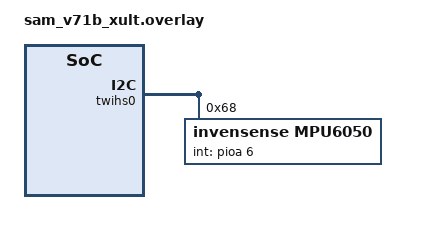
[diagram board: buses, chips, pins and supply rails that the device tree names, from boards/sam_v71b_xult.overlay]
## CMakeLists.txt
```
cmake_minimum_required(VERSION 3.20.0)

set(BOARD sam_v71b_xult)
set(DTC_OVERLAY_FILE "boards/sam_v71b_xult.overlay")

find_package(Zephyr)

project(rovertito)

file(GLOB_RECURSE SOURCE_FILES "src/*.c" "lib/*.c")
target_sources(app PRIVATE ${SOURCE_FILES})

# Add the include directories from lib recursively
file(GLOB_RECURSE LIB_HEADERS "${CMAKE_CURRENT_SOURCE_DIR}/lib/*/*.h")
foreach(header_file ${LIB_HEADERS})
    get_filename_component(dir ${header_file} DIRECTORY)
    list(APPEND LIB_INCLUDE_DIRS ${dir})
endforeach()
list(REMOVE_DUPLICATES LIB_INCLUDE_DIRS)
include_directories(${LIB_INCLUDE_DIRS})

target_include_directories(app PRIVATE include
                                       src
                                       src/telecommands
                                       src/telemetries)
```

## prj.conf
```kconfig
CONFIG_I2C=y
CONFIG_SENSOR=y
CONFIG_MPU6050_TRIGGER_NONE=y
CONFIG_CBPRINTF_FP_SUPPORT=y
CONFIG_SERIAL=y
CONFIG_UART_INTERRUPT_DRIVEN=y
CONFIG_CAN=y
CONFIG_CAN_INIT_PRIORITY=80
CONFIG_CAN_MAX_FILTER=5
CONFIG_CAN_FD_MODE=y
CONFIG_NETWORKING=y
CONFIG_SOCKS=y
CONFIG_NET_UDP=y
CONFIG_NET_IPV4=y
```

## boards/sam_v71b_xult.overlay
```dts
&twihs0 {
	mpu6050@68 {
		compatible = "invensense,mpu6050";
		reg = <0x68>;
		status = "okay";
		int-gpios = <&pioa 6 GPIO_ACTIVE_HIGH>;
	};
};
```

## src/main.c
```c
/*=============================================================================
 * Author: Spacebeetech - Navegacion
 * Date: 12/01/2023 
 * Board: Atmel ARM Cortex-M7 Xplained Ultra Dev Board ATSAMV71-XULT ATSAMV71Q21B
 * Entorno de programacion: Docker with Zephyr
 *
 *===========================================================================*/

/*=====================[ Inclusiones ]============================*/
#include <zephyr/kernel.h>

#include "Uart1.h"                  //Libreria del periferico UART
#include "TMTC_I2C.h"               //Libreria del periferico I2C
#include "TITO_Mov.h"               //Libreria para mover a tito
#include "udp_bridge.h"             //Libreria del bridge UDP por I2C
#include "telemetry_manager.h"      //Libreria para el manejo de TM
#include "telecommands_manager.h"   //Libreria para el manejo de TC
#include "telemetry_thread.h"       //Hilo para procesar TM
#include "telecommand_thread.h"     //Hilo para procesar TC
#include "get_timestamp.h"          //Libreria del telecomando Tiimestamp
#include "set_mode.h"               //Libreria del telecomando setmode
#include "set_profile_mode.h"       //Libreria del telecomando Perfilmode
#include "set_target_velocity.h"    //Libreria del telecomando set velocity
#include "TM_Enable.h"              //Libreria del telecomando de manejo de TM
#include "TM_Acelerometro.h"        //Libreria de para el envio de la telemetria acelerometro

/*=====================[ Defines ]============================*/
#define STACK_SIZE 16384  // Size of stack area used by every thread
#define COMMUNICATION_THREADS_PRIORITY 7

/*=====================[ Threads ]============================*/
//Se define el stack y el puntero de las tareas o hilos
K_THREAD_STACK_DEFINE(telecommand_thread_stack_area, STACK_SIZE);
struct k_thread telecommand_thread;

K_THREAD_STACK_DEFINE(telemetry_thread_stack_area, STACK_SIZE);
struct k_thread telemetry_thread;

K_THREAD_STACK_DEFINE(TITO_Mov_stack_area, STACK_SIZE);
struct k_thread TITO_Mov_thread_data;

/*========================================================================
  Funcion: main
  Descripcion: Crea los hilos de operacion
  Sin parametro de entrada
  No retorna nada
  ========================================================================*/
void main(void)
{
  //Se configura el puerto uart
	Uart1_Config();
	Uart1_println("Iniciando Rovertito V1.0.0 ");

  static UdpBridge udpBridgeTelecommand;  //Estructura que contiene la informacion del puerto y el puntero a su interface
  static UdpBridge udpBridgeTelemetry;    //Estructura que contiene la informacion del puerto y el puntero a su interface
  static TelecommandsManager telecommandsManager; //Estructura que contiene el numero maximo de telecomandos y el numero actual
  static TelemetryManager telemetryManager; //Estructura que contiene el numero maximo de telemetrias y el numero actual

  //Estructuras para cada Telecomando. Cada Telecomando es una interface diferente
  //Cada estructura contiene un puntero a su propia interface y dos estrucutras correspondientes a las variables de entrada y salida de la interface
  static GetTimestamp TC_getTimestamp;
  static SetMode TC_setMode;
  static SetProfileMode TC_setProfileMode;
  static SetTargetVelocity TC_setTargetVelocity;
  static TMEnable TC_TMEnable;

  //Estructuras para cada Telemetria. Cada Telemetria es una interface diferente
  //Cada estructura contiene un puntero a su propia interface y dos estrucutras correspondientes a las variables de entrada y salida de la interface
  static TM_Acelerometro TMp_Acelerometro;

  //Estructuras que contienen la informacion de los hilos
  static TelecommandThread telecommandThread;
  static TelemetryThread telemetryThread;

  //Se inicia y configura la comunicacion UDP mediante el bridge
  TMTC_I2C_init();                                                    //Se inicia el periferico i2c
  UdpBridge_create(&udpBridgeTelecommand, LANDER_PORT_TELECOMMAND);   //Inicia la interfaces para los telecomandos y le asigna un puerto
  UdpBridge_create(&udpBridgeTelemetry, LANDER_PORT_TELEMETRY);       //Inicia la interfaces para los telemetrias y le asigna un puerto

//Configuracion de Telecomandos
  TelecommandsManager_create(&telecommandsManager);                   //Se inicializa el manejador de telecomandos con 0 telecomandos actualmente

  
  //Se crea telecomandando para cambiar el modo de operacion de tito (Maquina de estado en TITO_Mov.c)
  SetMode_create(&TC_setMode);                                           //Se crea interface para este telecomando
  TelecommandsManager_addNewTelecommand(&telecommandsManager,         //Se agrega la interface creada, al manejador de telecomando
                                        SetMode_viewAsTelecommandInterface(&TC_setMode));
  //Se crea telecomandando para cambiar la altura de tito
  SetProfileMode_create(&TC_setProfileMode);
  TelecommandsManager_addNewTelecommand(&telecommandsManager,
                                        SetProfileMode_viewAsTelecommandInterface(&TC_setProfileMode));
  //Se crea telecomandando para cambiar la velocidad de tito
  SetTargetVelocity_create(&TC_setTargetVelocity);
  TelecommandsManager_addNewTelecommand(&telecommandsManager,
                                        SetTargetVelocity_viewAsTelecommandInterface(&TC_setTargetVelocity));

  //Se crea telecomandando para manejo de timestamp
  GetTimestamp_create(&TC_getTimestamp);                                 
  TelecommandsManager_addNewTelecommand(&telecommandsManager,        
                                        GetTimestamp_viewAsTelecommandInterface(&TC_getTimestamp));

  //Se crea telecomandando para manejo de TM
  TMEnable_create(&TC_TMEnable);                                 
  TelecommandsManager_addNewTelecommand(&telecommandsManager,        
                                        TMEnable_viewAsTelecommandInterface(&TC_TMEnable));
                                        
  //Se obtiene puntero a la interface del udpbridge para los telecomandos
  CommunicationInterface *telecommandChannel = UdpBridge_viewAsCommunicationInterface(&udpBridgeTelecommand);
 
  //Se inicializa la interface de telecomando (Agrega la informacion necesaria a la estructura que contine la informacion del hilo telecomando e inicializa el header de los mensajes TC)
  TelecommandThread_create(&telecommandThread, &telecommandsManager, telecommandChannel);

//Configuracion de telemetrias
  TelemetryManager_create(&telemetryManager);                   //Se inicializa el manejador de telemetrias con 0 telemetrias actualmente
  
  //Se configura telemetria de acelerometro
  TM_Acelerometro_inicialize(&TMp_Acelerometro);                                        //Se inicializa interface para esta telemetria
  TelemetryManager_addNewTelemetry(&telemetryManager, TM_Acelerometro_viewAsTelemetryInterface(&TMp_Acelerometro)); //Se agrega la interface creada, al manejador de telemetria
  
  //Se obtiene puntero a la interface del udpbridge para la telemetria
  CommunicationInterface *telemetryChannel = UdpBridge_viewAsCommunicationInterface(&udpBridgeTelemetry);

  TelemetryThread_create(&telemetryThread, &telemetryManager, telemetryChannel);

//Se crean las hilos o tareas en zephyr
  //Tarea o hilo periodico para procesar los telecomandos
  k_thread_create(&telecommand_thread, telecommand_thread_stack_area,
                  K_THREAD_STACK_SIZEOF(telecommand_thread_stack_area),
                  TelecommandThread_start,
                  &telecommandThread, NULL, NULL,
                  COMMUNICATION_THREADS_PRIORITY, 0, K_NO_WAIT);
  //Tarea o hilo periodico para procesar los telemetria
  k_thread_create(&telemetry_thread, telemetry_thread_stack_area,
                  K_THREAD_STACK_SIZEOF(telemetry_thread_stack_area),
                  TelemetryThread_start,
                  &telemetryThread, NULL, NULL,
                  COMMUNICATION_THREADS_PRIORITY+1, 0, K_NO_WAIT);
  //Tarea o hilo periodico para procesar los movimientos de tito
  k_thread_create(&TITO_Mov_thread_data, TITO_Mov_stack_area,
                  K_THREAD_STACK_SIZEOF(TITO_Mov_stack_area),
                  TITO_Mov_Tasks,
                  NULL, NULL, NULL,
                  COMMUNICATION_THREADS_PRIORITY + 2, 0, K_NO_WAIT);
}
```

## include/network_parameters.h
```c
#ifndef NETWORK_PARAMETERS_H_
#define NETWORK_PARAMETERS_H_

#define ROVER_PORT_TELECOMMAND 51524
#define LANDER_PORT_TELECOMMAND 51525
#define LANDER_PORT_TELEMETRY 51526

#define ROVER_ADDRESS "192.168.200.100"
#define LANDER_ADDRESS "192.168.200.200"

#endif  // NETWORK_PARAMETERS_H_
```

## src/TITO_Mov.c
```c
/*=============================================================================
 * Author: Spacebeetech - Navegacion
 * Date: 22/04/2023 
 * Board: Atmel ARM Cortex-M7 Xplained Ultra Dev Board ATSAMV71-XULT ATSAMV71Q21B
 * Entorno de programacion: Docker with Zephyr
 *
 * Descripcion: Realiza los movimientos correspondientes segun el estado de las maquinas de estado
 *===========================================================================*/

/*=====================[ Inclusiones ]============================*/
#include "TITO_Mov.h"

#include <string.h>
#include <stdio.h>

#include "CANopen.h"
#include "Uart1.h"
#include "epos4.h"
#include "MPU6050.h"
#include "height_controller.h"
#include "velocity_controller.h"
#include "driver_emulator.h"

/*=====================[Variables]================================*/
struct k_thread VelocityControl_thread_data;
K_THREAD_STACK_DEFINE(VelocityControl_stack_area, 512);
uint8_t epos_id[6]={0x02, 0x03, 0x04, 0x05, 0x06, 0x07};
uint8_t vector_pos[]={0, 5, 10, 15, 20, 25, 30, 35, 40, 45, 50, 55, 60, 65, 70, 75, 80, 85, 90, 90, 90, 90, 90, 90, 90, 90, 90, 90, 90, 90, 85, 80, 75, 70, 65, 60, 55, 50, 45, 40, 35, 30, 25, 20, 15, 10, 5, 0, 0, 0, 0, 0, 0, 0, 0, 0, 0, 0, 0};

static TITO_Mov_Mode_t Estado_movimiento = OFF;
static TITO_Mov_ProfileMode_t Estado_perfil = NOTHING;
static HeightController heightController;
static VelocityController velocityController;

/*===================[Prototipos de funciones]=========================*/
void VelocityControl_thread(void *, void *, void *);
uint8_t Motor_epos_config_parametros(void);
uint8_t Motor_config_parametros(void);
uint8_t Motor_poweroff(void);

/*=====================[Implementaciones]==============================*/
 

/*========================================================================
  Funcion: TITO_Mov_Tasks
  Descripcion: Tarea para verificar el estado de la maquina de estado y realizar los controles de los motores
  Sin parametro de entrada
  No retorna nada
  ========================================================================*/
void TITO_Mov_Tasks ( void *, void *, void * )
{
    CANopen_init();
    MPU6050_init();
    //char destino4[8]="        ";
    //sprintf(destino4, "MPU: %d", ret);
    //Uart1_println(destino4);

    // Movement controllers initialization
    HeightController_new(&heightController);
    VelocityController_new(&velocityController);

    //Paso driver epos a modo "Power disabled" para configurar cada driver
    if(Motor_poweroff()==0){
      Uart1_print("Error al apagar drivers");
    }

    if(Motor_config_parametros()==0){
      Uart1_print("Error al configurar parametros del motor");
    }

    if(Motor_epos_config_parametros()==0){
      Uart1_print("Error al configurar parametros generales en epos");
    }

    // Driver emulator initialization
    static DriverEmulator leg1;
    static DriverEmulator leg2;
    static DriverEmulator leg3;
    static DriverEmulator leg4;
    static DriverEmulator leg5;
    static DriverEmulator leg6;
    DriverEmulator_create(&leg1, epos_id[0]);
    DriverEmulator_create(&leg2, epos_id[1]);
    DriverEmulator_create(&leg3, epos_id[2]);
    DriverEmulator_create(&leg4, epos_id[3]);
    DriverEmulator_create(&leg5, epos_id[4]);
    DriverEmulator_create(&leg6, epos_id[5]);

    // Driver interface initialization
    DriverInterface *leg1Interface = DriverEmulator_viewAsDriverInterface(&leg1);
    DriverInterface *leg2Interface = DriverEmulator_viewAsDriverInterface(&leg2);
    DriverInterface *leg3Interface = DriverEmulator_viewAsDriverInterface(&leg3);
    DriverInterface *leg4Interface = DriverEmulator_viewAsDriverInterface(&leg4);
    DriverInterface *leg5Interface = DriverEmulator_viewAsDriverInterface(&leg5);
    DriverInterface *leg6Interface = DriverEmulator_viewAsDriverInterface(&leg6);

     /*
    uint8_t p[5]={0x00, 0x0F, 0x42, 0x40};          
    uint8_t i[5]={0x00, 0x00, 0x00, 0x00};
    uint8_t d[5]={0x00, 0x00, 0x00, 0x00};  
    // 1=control velocidad  2= control posicion    
    uint8_t ress = Epos4_config_PID (epos_id[0], 2, p, i, d);
    ress = ress +  Epos4_config_PID (epos_id[1], 2, p, i, d);
    ress = ress +  Epos4_config_PID (epos_id[2], 2, p, i, d);
    ress = ress +  Epos4_config_PID (epos_id[3], 2, p, i, d);
    p[0]=0x00; p[1]=0x16; p[2]=0xE3; p[3]=0x60;
    ress = ress +  Epos4_config_PID (epos_id[4], 2, p, i, d);
    p[0]=0x00; p[1]=0x0F; p[2]=0x42; p[3]=0x40;
    ress = ress +  Epos4_config_PID (epos_id[5], 2, p, i, d);
    if(ress==0){
      Uart1_println("Config PID - OK");
    }else{
      Uart1_println("Config PID - Fail");
    }
    */
    while (1)
    {
        switch (Estado_movimiento) {
        case OFF:
          break;
        case MANUAL: 
          uint8_t res = 0;
          float angleDegrees = 0;
          switch (Estado_perfil) {
            case NOTHING:
              break;
            case HOME:
              //Indico que todos los motores vayan a la posicion cero
              res += DriverInterface_setPosition(leg1Interface, 0);
              res += DriverInterface_setPosition(leg2Interface, 0);
              res += DriverInterface_setPosition(leg3Interface, 0);
              res += DriverInterface_setPosition(leg4Interface, 0);
              res += DriverInterface_setPosition(leg5Interface, 0);
              res += DriverInterface_setPosition(leg6Interface, 0);
              if(res==0){
                Uart1_println("Motores en HOME - OK");
              }else{
                Uart1_println("Motores en HOME - OFF");
              }
              break;
            case SET_HEIGHT:
              angleDegrees = HeightController_compute(&heightController);
              res += DriverInterface_setPosition(leg1Interface, angleDegrees);
              res += DriverInterface_setPosition(leg2Interface, angleDegrees);
              res += DriverInterface_setPosition(leg3Interface, angleDegrees);
              res += DriverInterface_setPosition(leg4Interface, angleDegrees);
              res += DriverInterface_setPosition(leg5Interface, angleDegrees);
              res += DriverInterface_setPosition(leg6Interface, angleDegrees);
              if (res == 0) {
                Uart1_println("Perfil - OK");
              } else {
                Uart1_println("Perfil - fail");
              }
              break;
            case FORWARD:
              angleDegrees = VelocityController_compute(&velocityController);
              res += DriverInterface_setPosition(leg1Interface, angleDegrees);
              res += DriverInterface_setPosition(leg2Interface, angleDegrees);
              res += DriverInterface_setPosition(leg3Interface, angleDegrees);
              res += DriverInterface_setPosition(leg4Interface, angleDegrees);
              res += DriverInterface_setPosition(leg5Interface, angleDegrees);
              res += DriverInterface_setPosition(leg6Interface, angleDegrees);
              if (res == 0) {
                Uart1_println("Forward - OK");
              } else {
                Uart1_println("Forward - fail");
              }
              break;
            case TURN:
              break;
          }
          break;
        case AUTO:
          break;
        }
      k_msleep(100);
    }
}


/*========================================================================
  Funcion: VelocityControl_thread
  Descripcion: Envio la trama 2 por canbus
  Sin parametro de entrada
  No retorna nada
  ========================================================================
void VelocityControl_thread(void *, void *, void *){
  Uart1_println("Inicio hilo VelocityControl");
  while (1)
    {
        char dato[32]= {0};
        uint8_t retorno = Uart1_Recibir(dato);
        if (dato[0] != ' ' && retorno == 1)                    //Si el byte es distinto del caracter ' ' y se retorno 1
        {   
            char destino[15]="               ";
            sprintf(destino, "Ingreso: %s", dato);
            Uart1_println(destino);
            
            if (dato[0]  == 'X')                               //Si el dato recibido es el caracter X
            {
               break;                                          //Salgo del while true
            }

            if (dato[0]  == 'S')                               //Si el dato recibido es el caracter S
            {
              uint32_t velocidad = (dato[1]-'0')*1000+(dato[2]-'0')*100+(dato[3]-'0')*10+(dato[4]-'0');
              char destino2[21]="               ";
              sprintf(destino2, "Velocidad set en: %d", velocidad);
              Uart1_println(destino2);

              uint8_t velocity[4]={0x00, 0x00, 0x00, 0x00};
              velocity[3]=velocidad & 0xff;
              velocity[2]=(velocidad>>8) & 0xff;
              velocity[1]=(velocidad>>16) & 0xff;
              velocity[0]=(velocidad>>24) & 0xff;

              Epos4_Cyclic_Synchronous_Velocity_MODE (epos_id[0], velocity);
              Epos4_Cyclic_Synchronous_Velocity_MODE (epos_id[1], velocity);
              Epos4_Cyclic_Synchronous_Velocity_MODE (epos_id[2], velocity);
              Epos4_Cyclic_Synchronous_Velocity_MODE (epos_id[3], velocity);
              Epos4_Cyclic_Synchronous_Velocity_MODE (epos_id[4], velocity);
              Epos4_Cyclic_Synchronous_Velocity_MODE (epos_id[5], velocity);
            }

        }else{
            Uart1_println("Ingrese el setpoint de velocidad con el formato S0000 o presione x para terminar este hilo");
        }

        //Tomo dato de la imu
        float accel[4]={0};
        float gyro[4]={0};
        uint8_t resultado = 1;
        if(resultado==0){
          char imuu[80];
          sprintf(imuu, "accel %lf %lf %lf m/s/s  -  gyro  %lf %lf %lf rad/s", accel[0], accel[1], accel[2], gyro[0], gyro[1], gyro[2]);
          Uart1_println(imuu);
        }
                
        k_msleep(1500);
    }
  Uart1_println("Fin hilo VelocityControl");  //Al no tener bucle infinito, el hilo se elimina
}
*/
/*========================================================================
  Funcion: Motor_poweroff
  Descripcion: Apaga los 4 driver EPOS
  Sin parametro de entrada
  Retorna:   0 si no se pudo realizar correctamente
             1 si se pudo realizar correctamente
  ========================================================================*/
uint8_t Motor_poweroff(void){
  uint8_t res = Epos4_Power_Disable(epos_id[0]);
  res = res + Epos4_Power_Disable(epos_id[1]);
  res = res + Epos4_Power_Disable(epos_id[2]);
  res = res + Epos4_Power_Disable(epos_id[3]);
  res = res + Epos4_Power_Disable(epos_id[4]);
  res = res + Epos4_Power_Disable(epos_id[5]);
  if(res==0){
    return 1;
  }else{
    return 0;
  }
}

/*========================================================================
  Funcion: Motor_config_parametros
  Descripcion: Configuro parametros del motor en cada epos
  Sin parametro de entrada
  Retorna:   0 si no se pudo realizar correctamente
             1 si se pudo realizar correctamente
  ========================================================================*/
uint8_t Motor_config_parametros(void){
  uint8_t max_vel[4]={0x00, 0x00, 0x2A, 0x30};      //Maxima velocidad del motor  10800 rpm
  uint8_t nom_curr[4]={0x00, 0x00, 0x06, 0x54};     //Corriente nominal del motor 1620 mA
  uint8_t max_curr[4]={0x00, 0x00, 0x0C, 0xA8};     //3240 mA (Output current limit)
  uint8_t res = Epos4_config_motor_parameters (epos_id[0], max_vel, nom_curr, max_curr);
  res = res + Epos4_config_motor_parameters (epos_id[1], max_vel, nom_curr, max_curr);
  res = res + Epos4_config_motor_parameters (epos_id[2], max_vel, nom_curr, max_curr);
  res = res + Epos4_config_motor_parameters (epos_id[3], max_vel, nom_curr, max_curr);
  res = res + Epos4_config_motor_parameters (epos_id[4], max_vel, nom_curr, max_curr);
  res = res + Epos4_config_motor_parameters (epos_id[5], max_vel, nom_curr, max_curr);
  if(res==0){
    return 1;
  }else{
    return 0;
  }
}

/*========================================================================
  Funcion: Motor_epos_config_parametros
  Descripcion: Configuro parametros generales en cada epos
  Sin parametro de entrada
  Retorna:   0 si no se pudo realizar correctamente
             1 si se pudo realizar correctamente
  ========================================================================*/
uint8_t Motor_epos_config_parametros(void){
  uint8_t max_vel[4]={0x00, 0x00, 0x03, 0xE8};          //Máxima velocidad permitida en los movimientos. 1000 rpm 
  uint8_t des_ramp[4]={0x00, 0x00, 0x00, 0x0A};         //Desaceleracion en modo normal. 10 rpm/s
  uint8_t des_ramp_fast[4]={0x00, 0x00, 0x00, 0x14};    //Desaceleracion en modo fast. 20 rpm/s
  uint8_t max_acel[4]={0x00, 0x00, 0x00, 0x0A};         //Maxima aceleracion.  10 rpm/s 
  uint8_t res = Epos4_config_parameters (epos_id[0], max_vel, des_ramp, des_ramp_fast, max_acel);
  res = res + Epos4_config_parameters (epos_id[1], max_vel, des_ramp, des_ramp_fast, max_acel);
  res = res + Epos4_config_parameters (epos_id[2], max_vel, des_ramp, des_ramp_fast, max_acel);
  res = res + Epos4_config_parameters (epos_id[3], max_vel, des_ramp, des_ramp_fast, max_acel);
  res = res + Epos4_config_parameters (epos_id[4], max_vel, des_ramp, des_ramp_fast, max_acel);
  res = res + Epos4_config_parameters (epos_id[5], max_vel, des_ramp, des_ramp_fast, max_acel);
  if(res==0){
    return 1;
  }else{
    return 0;
  }
}

uint8_t TITO_Mov_setMode(TITO_Mov_Mode_t mode) {
  Estado_movimiento = mode;
  return 0;
}

uint8_t TITO_Mov_setProfileMode(TITO_Mov_ProfileMode_t profileMode) {
  Estado_perfil = profileMode;
  return 0;
}

uint8_t TITO_Mov_setTargetVelocity(float targetVelocity) {
  VelocityController_setNewTargetVelocity(&velocityController, targetVelocity);
  return 0;
}
```

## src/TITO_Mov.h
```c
/*=============================================================================
 * Author: Spacebeetech - Navegacion
 * Date: 22/04/2023 
 * Board: Atmel ARM Cortex-M7 Xplained Ultra Dev Board ATSAMV71-XULT ATSAMV71Q21B
 * Entorno de programacion: Docker with Zephyr
 *
 * Descripción: Realiza los movimientos correspondientes segun el estado de las maquinas de estado
 *===========================================================================*/

/*==================[Definiciones]================================*/
#ifndef TITO_Mov_H_
#define TITO_Mov_H_

/*=====================[ Inclusiones ]============================*/
#include <zephyr/kernel.h>
#include <stdint.h>
#include <stdbool.h>
#include <stddef.h>
#include <stdlib.h>

/*=====================[Variables]================================*/
typedef enum TITO_Mov_Mode {
  OFF,
  MANUAL,
  AUTO
} TITO_Mov_Mode_t;

typedef enum TITO_Mov_ProfileMode {
  NOTHING,
  HOME,
  SET_HEIGHT,
  FORWARD,
  TURN
} TITO_Mov_ProfileMode_t;

/*=================[Prototipos de funciones]======================*/
void TITO_Mov_Tasks(void *, void *, void *);
uint8_t TITO_Mov_setMode(TITO_Mov_Mode_t mode);
uint8_t TITO_Mov_setProfileMode(TITO_Mov_ProfileMode_t profileMode);
uint8_t TITO_Mov_setTargetVelocity(float targetVelocity);

#endif  // TITO_Mov_H_
```

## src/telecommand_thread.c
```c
#include "telecommand_thread.h"

#include "network_parameters.h"

#define RETURN_ARGUMENTS_MAX_SIZE 1024

//******************************************************************************
// Private methods
//******************************************************************************
static void TelecommandThread_sendResponseAck(TelecommandThread *self) {
  MessageHeader_t header = MessageHandler_getHeader(&self->receivedMessage);
  MessageHandler_setHeader(&self->responseMessage, header);
  MessageHandler_send(&self->responseMessage, NULL, 0);
}

static void TelecommandThread_sendResponseNominal(TelecommandThread *self,
                                                  TelecommandInterface *telecommand) {
  MessageHeader_t header = MessageHandler_getHeader(&self->receivedMessage);
  MessageHandler_setHeader(&self->responseMessage, header);  // Response message shall have same header as received message
  uint8_t buffer[RETURN_ARGUMENTS_MAX_SIZE];
  size_t currentSize = 0;
  TelecommandInterface_getReturnArguments(telecommand, buffer, &currentSize);  // Get return arguments
  MessageHandler_send(&self->responseMessage, buffer, currentSize);  // Send response message with telecommand return arguments
}

static void TelecommandThread_sendResponseFailure(TelecommandThread *self) { /* TODO: Implement */ }
static void TelecommandThread_sendResponseNotEnabled(TelecommandThread *self) { /* TODO: Implement */ }

//******************************************************************************
// Public methods
//******************************************************************************
/*========================================================================
  Funcion: TelecommandThread_create
  Descripcion: Agrega la informacion necesaria a la estructura que contine la informacion del hilo telecomando
  Parametro de entrada:
                        SetMode *self:            Puntero a la estructura donde se guardara la informacion del hilo de telecomandos
                        TelecommandsManager *telecommandsManager: Puntero al manejador de telecomandos
                        CommunicationInterface *messageChannel:   Puntero a la interface de telecomando
  No retorna nada
  ========================================================================*/
void TelecommandThread_create(TelecommandThread *self,
                              TelecommandsManager *telecommandsManager,
                              CommunicationInterface *messageChannel) {
  self->telecommandsManager = telecommandsManager;            

  MessageHandler_create(&self->receivedMessage, messageChannel);   //Guarda en la estructura del hilo de telecomando el puntero de la interface de telecomando para la recepcion de mensajes
  MessageHandler_create(&self->responseMessage, messageChannel);   //Guarda en la estructura del hilo de telecomando el puntero de la interface de telecomando para la transmicion de mensajes
  MessageHandler_initializeHeader(&self->responseMessage,          //Inicializa el header de la capa de aplicacion de  los mensajes
                                  MESSAGE_HEADER_INTERACTION_TYPE_REQUEST,
                                  2, MESSAGE_HEADER_SERVICE_TELECOMMAND, false);
}

/*========================================================================
  Funcion: TelecommandThread_start
  Descripcion: Hilo o tarea periodica para procesar los TC
  Parametro de entrada:
  No retorna nada
  ========================================================================*/
void TelecommandThread_start(void *self, void *, void *) {
  TelecommandThread *_self = (TelecommandThread *)self;                        //Puntero a la interface del hilo de telecomando
  while (true) {
    bool isMessageReceived = MessageHandler_receive(&_self->receivedMessage);  //Si se recibio mensaje
    if (isMessageReceived) {                                                   //Si se recibio mensaje
      Message_t *message = MessageHandler_getMessage(&_self->receivedMessage); //Obtengo el mensaje que se guardo en la interface del hilo
      bool isMessageTelecommand = MessageHandler_isTelecommand(&_self->receivedMessage); //Verifica si el mensaje llegado es TC
      bool isKnownOperation = TelecommandsManager_isKnownOperation(            //Verifica si el TC recibio es un telecomadno existente en el manejador de TC
        _self->telecommandsManager, message);
      if (isMessageTelecommand & isKnownOperation) {                           //Si es un TC y existe
        TelecommandInterface *telecommand = TelecommandsManager_getTelecommandFromMessage( //Se obtiene el TC que se debe ejecutar desde el mensaje
          _self->telecommandsManager, message);
        if (TelecommandInterface_isEnabled(telecommand)) {                     //Si el telecomando esta habilitado
          TelecommandInterface_loadInputArguments(telecommand, message->body,  //Se pasa el cuerpo del mensaje a los argumentos de entrada del TC
                                                  message->header.bodyLength);
          switch (message->header.interactionType) {                           //Segun el tipo de mensaje
            case MESSAGE_HEADER_INTERACTION_TYPE_SEND: {
              printk("New TC OK\n");
              TelecommandInterface_execute(telecommand);                       //Se ejecuta el comando llamando a la funcion correspondiente
              break;
            }
            case MESSAGE_HEADER_INTERACTION_TYPE_SUBMIT: {
              TelecommandInterface_execute(telecommand);
              if (true) {
                TelecommandThread_sendResponseAck(_self);
              } else {
                TelecommandThread_sendResponseFailure(_self);
              }
              break;
            }
            case MESSAGE_HEADER_INTERACTION_TYPE_REQUEST: {
              TelecommandInterface_execute(telecommand);
              if (true) {
                TelecommandThread_sendResponseNominal(_self, telecommand);
              } else {
                TelecommandThread_sendResponseFailure(_self);
              }
              break;
            }
            default: { }
          }
        } else {
          TelecommandThread_sendResponseNotEnabled(_self);
        }
      }else{
        if(isKnownOperation==false){printk("El TC recibido no es una operacion\n");}
        if(isMessageTelecommand==false){printk("No es un TC\n");}
        
      }
    }
    k_msleep(100);
  }
}
```

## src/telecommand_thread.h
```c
#ifndef TELECOMMAND_LISTENER_H_
#define TELECOMMAND_LISTENER_H_

#include "communication_interface.h"
#include "message_handler.h"
#include "telecommands_manager.h"

typedef struct TelecommandThread {
  MessageHandler receivedMessage;
  MessageHandler responseMessage;
  TelecommandsManager *telecommandsManager;
} TelecommandThread;

void TelecommandThread_create(TelecommandThread *self,
                              TelecommandsManager *telecommandsManager,
                              CommunicationInterface *messageChannel);

void TelecommandThread_start(void *self, void *, void *);

#endif  // TELECOMMAND_LISTENER_H_
```

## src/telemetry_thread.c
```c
#include "telemetry_thread.h"

//******************************************************************************
// Private methods
//******************************************************************************
TelemetryThread *TelemetryThread_self;

static void TelemetryThread_computeTelemetries(TelemetryThread *self) {
  for (int i = 0; i < self->telemetryManager->currentNumberOfTelemetry; i++) {
    TelemetryInterface *telemetry=self->telemetryManager->telemetry[i];
    if(TelemetryInterface_isEnabled(telemetry)){
      TelemetryInterface_execute(telemetry, &self->messageHandler);
    }
  }
}

//******************************************************************************
// Public methods
//******************************************************************************
void TelemetryThread_create(TelemetryThread *self,
                            TelemetryManager *telemetryManager,
                            CommunicationInterface *messageChannel) {

  self->telemetryManager = telemetryManager;                      //Guarda en la estructura del hilo de Tm el puntero al manajador de telemetria
  MessageHandler_create(&self->messageHandler, messageChannel);   //Guarda en la estructura del hilo de telecomando el puntero de la interface de telecomando para la recepcion de mensajes
  MessageHandler_initializeHeader(&self->messageHandler,          //Inicializa el header de la capa de aplicacion de  los mensajes
                                  MESSAGE_HEADER_INTERACTION_TYPE_PUBSUB,
                                  1, MESSAGE_HEADER_SERVICE_TELEMETRY, false);
}

void TelemetryThread_start(void *self, void *, void *) {
  TelemetryThread  *_self = (TelemetryThread *)self;
  TelemetryThread_self = (TelemetryThread *)self;
  while (true) {
    TelemetryThread_computeTelemetries(_self);
    k_msleep(1000);
  }
}
```

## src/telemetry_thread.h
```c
#ifndef TELEMETRY_THREAD_H_
#define TELEMETRY_THREAD_H_

#include <zephyr/kernel.h>

#include "network_parameters.h"
#include "message_handler.h"
#include "telemetry_interface.h"
#include "communication_interface.h"
#include "telemetry_manager.h"
#include "udp_handler.h"

typedef struct TelemetryThread {
  UdpHandler udpHandler;
  MessageHandler messageHandler;
  TelemetryManager *telemetryManager;
} TelemetryThread;

void TelemetryThread_create(TelemetryThread *self,
                            TelemetryManager *telemetryManager,
                            CommunicationInterface *messageChannel);

void TelemetryThread_start(void *self, void *, void *);

#endif  // TELEMETRY_THREAD_H_
```
